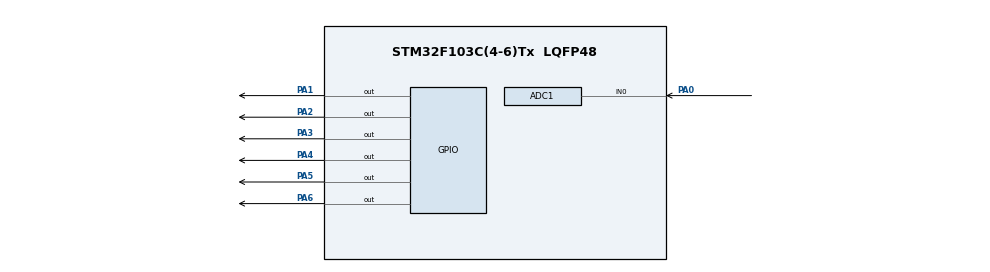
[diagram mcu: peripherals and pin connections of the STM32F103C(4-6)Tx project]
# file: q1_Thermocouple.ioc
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ADC1.Channel-1\#ChannelRegularConversion=ADC_CHANNEL_0
ADC1.NbrOfConversionFlag=1
ADC1.Rank-1\#ChannelRegularConversion=1
ADC1.SamplingTime-1\#ChannelRegularConversion=ADC_SAMPLETIME_1CYCLE_5
ADC1.master=1
Mcu.Family=STM32F1
Mcu.Name=STM32F103C(4-6)Tx
Mcu.Package=LQFP48
NVIC.PriorityGroup=NVIC_PRIORITYGROUP_4
PA0-WKUP.Signal=ADCx_IN0
PA1.Signal=GPIO_Output
PA2.Signal=GPIO_Output
PA3.Signal=GPIO_Output
PA4.Signal=GPIO_Output
PA5.Signal=GPIO_Output
PA6.Signal=GPIO_Output
ProjectManager.HeapSize=0x200
ProjectManager.StackSize=0x400
ProjectManager.TargetToolchain=STM32CubeIDE
RCC.APB1Freq_Value=8000000
RCC.APB2Freq_Value=8000000
SH.ADCx_IN0.0=ADC1_IN0,IN0
VP_SYS_VS_ND.Mode=No_Debug
board=custom

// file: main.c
/* USER CODE BEGIN Header */
/**
  ******************************************************************************
  * @file           : main.c
  * @brief          : Main program body
  ******************************************************************************
  * @attention
  *
  * Copyright (c) 2026 STMicroelectronics.
  * All rights reserved.
  *
  * This software is licensed under terms that can be found in the LICENSE file
  * in the root directory of this software component.
  * If no LICENSE file comes with this software, it is provided AS-IS.
  *
  ******************************************************************************
  */
/* USER CODE END Header */
#include "main.h"

/* USER CODE BEGIN Includes */
#include "lcd.h"
#include <stdio.h>
/* USER CODE END Includes */

ADC_HandleTypeDef hadc1;

void SystemClock_Config(void);
static void MX_GPIO_Init(void);
static void MX_ADC1_Init(void);

int main(void)
{

  /* MCU Configuration--------------------------------------------------------*/

  /* Reset of all peripherals, Initializes the Flash interface and the Systick. */
  HAL_Init();

  /* Configure the system clock */
  SystemClock_Config();

  /* Initialize all configured peripherals */
  MX_GPIO_Init();
  MX_ADC1_Init();
  /* USER CODE BEGIN 2 */
  Lcd_PortType ports[] = {GPIOA, GPIOA, GPIOA, GPIOA};
    Lcd_PinType pins[] = {GPIO_PIN_3, GPIO_PIN_4, GPIO_PIN_5, GPIO_PIN_6};

    // Create and initialize LCD instance (RS=PA1, EN=PA2)
    Lcd_HandleTypeDef lcd = Lcd_create(ports, pins, GPIOA, GPIO_PIN_1, GPIOA, GPIO_PIN_2, LCD_4_BIT_MODE);

    Lcd_cursor(&lcd, 0, 0);
    Lcd_string(&lcd, "Thermocouple Sensor Init");
    HAL_Delay(1000);
    Lcd_clear(&lcd);
  /* USER CODE END 2 */

  /* Infinite loop */
  while (1)
  {

    /* USER CODE BEGIN 3 */
	  HAL_ADC_Start(&hadc1);

	      // Poll ADC with a 10ms timeout
	      if (HAL_ADC_PollForConversion(&hadc1, 10) == HAL_OK)
	      {
	          uint32_t adc_val = HAL_ADC_GetValue(&hadc1);

	          // 1. Calculate measured Voltage (Assuming 5.0V reference in Proteus)
	          float voltage = ((float)adc_val / 4095.0f) * 5.0f;

	          // 2. Calculate Thermocouple Temperature
	          // Sensitivity = 40 uV/C, Gain = 500
	          // V_ADC = (40 * 10^-6) * 500 * T = 0.02 * T
	          // T = V_ADC / 0.02 = V_ADC * 50
	          float temperature = voltage * 50.0f;

	          // Format strings for LCD
	          char line1[16];
	          char line2[16];

	          // Line 1: Output Voltage from AD620
	          sprintf(line1, "Volt: %.3f V", voltage);

	          // Line 2: Temperature in Celsius
	          sprintf(line2, "Temp: %.1f C", temperature);

	          // Update Display
	          Lcd_cursor(&lcd, 0, 0);
	          Lcd_string(&lcd, line1);
	          Lcd_cursor(&lcd, 1, 0);
	          Lcd_string(&lcd, line2);
	      }
	      HAL_ADC_Stop(&hadc1);

	      // Wait before next reading
	      HAL_Delay(500);
	    }
  /* USER CODE END 3 */
}

void SystemClock_Config(void)
{
  RCC_OscInitTypeDef RCC_OscInitStruct = {0};
  RCC_ClkInitTypeDef RCC_ClkInitStruct = {0};
  RCC_PeriphCLKInitTypeDef PeriphClkInit = {0};

  /** Initializes the RCC Oscillators according to the specified parameters
  * in the RCC_OscInitTypeDef structure.
  */
  RCC_OscInitStruct.OscillatorType = RCC_OSCILLATORTYPE_HSI;
  RCC_OscInitStruct.HSIState = RCC_HSI_ON;
  RCC_OscInitStruct.HSICalibrationValue = RCC_HSICALIBRATION_DEFAULT;
  RCC_OscInitStruct.PLL.PLLState = RCC_PLL_NONE;
  if (HAL_RCC_OscConfig(&RCC_OscInitStruct) != HAL_OK)
  {
    Error_Handler();
  }

  /** Initializes the CPU, AHB and APB buses clocks
  */
  RCC_ClkInitStruct.ClockType = RCC_CLOCKTYPE_HCLK|RCC_CLOCKTYPE_SYSCLK
                              |RCC_CLOCKTYPE_PCLK1|RCC_CLOCKTYPE_PCLK2;
  RCC_ClkInitStruct.SYSCLKSource = RCC_SYSCLKSOURCE_HSI;
  RCC_ClkInitStruct.AHBCLKDivider = RCC_SYSCLK_DIV1;
  RCC_ClkInitStruct.APB1CLKDivider = RCC_HCLK_DIV1;
  RCC_ClkInitStruct.APB2CLKDivider = RCC_HCLK_DIV1;

  if (HAL_RCC_ClockConfig(&RCC_ClkInitStruct, FLASH_LATENCY_0) != HAL_OK)
  {
    Error_Handler();
  }
  PeriphClkInit.PeriphClockSelection = RCC_PERIPHCLK_ADC;
  PeriphClkInit.AdcClockSelection = RCC_ADCPCLK2_DIV2;
  if (HAL_RCCEx_PeriphCLKConfig(&PeriphClkInit) != HAL_OK)
  {
    Error_Handler();
  }
}

static void MX_ADC1_Init(void)
{

  ADC_ChannelConfTypeDef sConfig = {0};

  /** Common config
  */
  hadc1.Instance = ADC1;
  hadc1.Init.ScanConvMode = ADC_SCAN_DISABLE;
  hadc1.Init.ContinuousConvMode = DISABLE;
  hadc1.Init.DiscontinuousConvMode = DISABLE;
  hadc1.Init.ExternalTrigConv = ADC_SOFTWARE_START;
  hadc1.Init.DataAlign = ADC_DATAALIGN_RIGHT;
  hadc1.Init.NbrOfConversion = 1;
  if (HAL_ADC_Init(&hadc1) != HAL_OK)
  {
    Error_Handler();
  }

  /** Configure Regular Channel
  */
  sConfig.Channel = ADC_CHANNEL_0;
  sConfig.Rank = ADC_REGULAR_RANK_1;
  sConfig.SamplingTime = ADC_SAMPLETIME_1CYCLE_5;
  if (HAL_ADC_ConfigChannel(&hadc1, &sConfig) != HAL_OK)
  {
    Error_Handler();
  }

}

static void MX_GPIO_Init(void)
{
  GPIO_InitTypeDef GPIO_InitStruct = {0};

  /* GPIO Ports Clock Enable */
  __HAL_RCC_GPIOA_CLK_ENABLE();

  /*Configure GPIO pin Output Level */
  HAL_GPIO_WritePin(GPIOA, GPIO_PIN_1|GPIO_PIN_2|GPIO_PIN_3|GPIO_PIN_4
                          |GPIO_PIN_5|GPIO_PIN_6, GPIO_PIN_RESET);

  /*Configure GPIO pins : PA1 PA2 PA3 PA4
                           PA5 PA6 */
  GPIO_InitStruct.Pin = GPIO_PIN_1|GPIO_PIN_2|GPIO_PIN_3|GPIO_PIN_4
                          |GPIO_PIN_5|GPIO_PIN_6;
  GPIO_InitStruct.Mode = GPIO_MODE_OUTPUT_PP;
  GPIO_InitStruct.Pull = GPIO_NOPULL;
  GPIO_InitStruct.Speed = GPIO_SPEED_FREQ_LOW;
  HAL_GPIO_Init(GPIOA, &GPIO_InitStruct);

}

void Error_Handler(void)
{
  __disable_irq();
  while (1)
  {
  }
}
